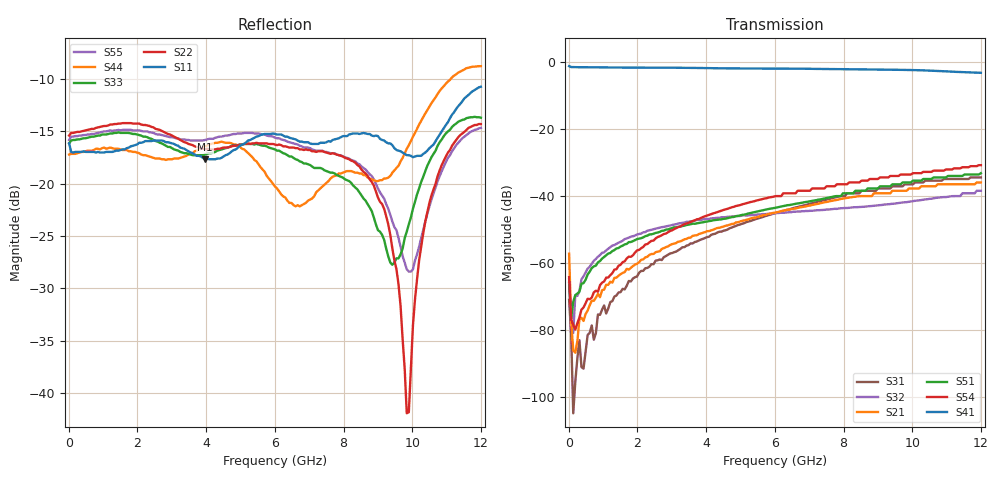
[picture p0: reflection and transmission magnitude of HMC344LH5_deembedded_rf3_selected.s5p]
! Hittite Microwave Corporation
! 20 Alpha Road
! Chelmsford, MA 01824
! Tel: 978-250-3343
! Fax: 978-250-3373
! Device: HMC344LH5, DC-12 GHz GaAs MMIC SP4T Non-Reflective Switch in Hermetic Leadless SMT Package
! Misc: Data was de-embedded to package pins.
!  Port 1 = RFC
!  Port 2 = RF1
!  Port 3 = RF2
!  Port 4 = RF3
!  Port 5 = RF4
!  RF3 selected, Vctl= 0/-5 V
!  Data reformated to new Touchstone file format - Tue Jan 09 13:46:17  2007
# MHz S DB R 50
! 5 Port Network Data
! freq  dbS11  angS11  dbS12  angS12  dbS13  angS13  dbS14  angS14
!  dbS15  angS15
!  dbS21  angS21  dbS22  angS22  dbS23  angS23
!  dbS24  angS24  dbS25  angS25
!  dbS31  angS31  dbS32  angS32
!  dbS33  angS33  dbS34  angS34  dbS35  angS35
!  dbS41  angS41
!  dbS42  angS42  dbS43  angS43  dbS44  angS44  dbS45  angS45
!  dbS51  angS51  dbS52  angS52  dbS53  angS53  dbS54  angS54
!  dbS55  angS55
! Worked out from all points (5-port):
!   201 points, 10 MHz to 12 GHz, reference 50 ohm
!   strongest paths, dB at 10 MHz, 3.007 GHz, 6.005 GHz, 9.002 GHz, 12 GHz:
!     S41: -1.1, -1.6, -1.9, -2.2, -3.1
!     S54: -64.2, -50.2, -40.1, -34.9, -30.8
!     S51: -65.9, -49.6, -43.5, -37.7, -33.2
!     S21: -57.2, -54.4, -45.0, -39.2, -35.9
!     S32: -64.9, -48.7, -45.1, -42.8, -38.4
!     S31: -71.0, -57.0, -45.2, -37.7, -34.4
!   lowest |S11| = -17.7 dB at 3.967 GHz (marker M1), VSWR 1.30, Z = 42.5 - j9.57 ohm
!   |S11| at or under -10 dB: start of sweep to end of sweep
